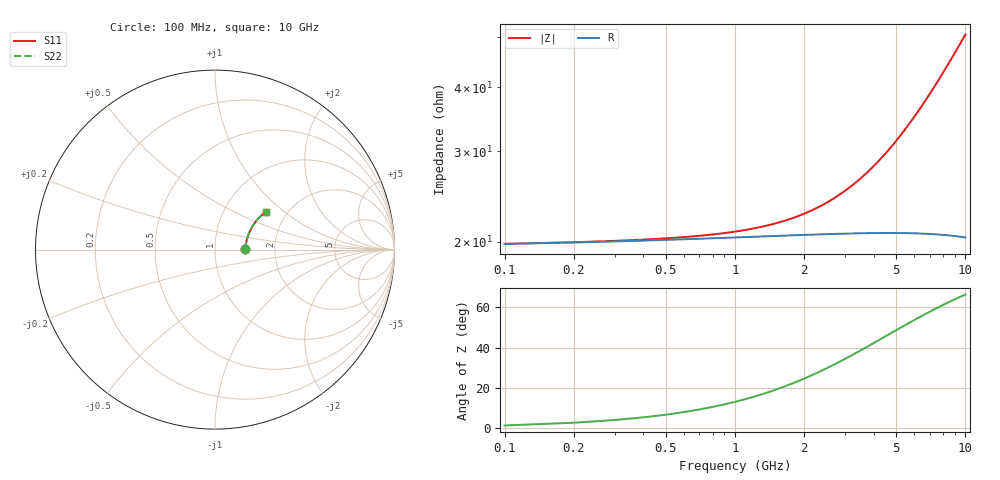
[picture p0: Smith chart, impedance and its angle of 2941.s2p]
# Hz S RI R 50.00
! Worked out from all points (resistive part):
!   100 points, 100 MHz to 10 GHz, reference 50 ohm
!   read as one part in series: R = 19.8 ohm at 100 MHz
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1e8  0.1654 0.0026  0.8346 -0.00396  0.8346 -0.00396  0.1654 0.0026
2e8  0.1663 0.00518  0.8336 -0.00791  0.8336 -0.00791  0.1663 0.00518
3e8  0.1671 0.00775  0.8329 -0.0118  0.8329 -0.0118  0.1671 0.00775
8e8  0.1697 0.0205  0.8302 -0.0314  0.8302 -0.0314  0.1697 0.0205
1.1e9  0.1712 0.0281  0.8286 -0.0431  0.8286 -0.0431  0.1712 0.0281
1.4e9  0.1728 0.0357  0.827 -0.0548  0.827 -0.0548  0.1728 0.0357
1.8e9  0.175 0.0456  0.8246 -0.0702  0.8246 -0.0702  0.175 0.0456
2.1e9  0.1768 0.0531  0.8227 -0.0818  0.8227 -0.0818  0.1768 0.0531
2.5e9  0.1796 0.0628  0.8198 -0.097  0.8198 -0.097  0.1796 0.0628
2.9e9  0.1826 0.0725  0.8165 -0.1122  0.8165 -0.1122  0.1826 0.0725
3.4e9  0.1868 0.0844  0.812 -0.1309  0.812 -0.1309  0.1868 0.0844
4.2e9  0.1945 0.1029  0.8037 -0.1603  0.8037 -0.1603  0.1945 0.1029
4.6e9  0.1988 0.1119  0.799 -0.1748  0.799 -0.1748  0.1988 0.1119
5.1e9  0.2047 0.1228  0.7927 -0.1926  0.7927 -0.1926  0.2047 0.1228
5.9e9  0.2149 0.1396  0.7815 -0.2204  0.7815 -0.2204  0.2149 0.1396
6.7e9  0.2263 0.1555  0.7691 -0.2473  0.7691 -0.2473  0.2263 0.1555
7.2e9  0.2339 0.1649  0.7608 -0.2636  0.7608 -0.2636  0.2339 0.1649
7.6e9  0.2402 0.1722  0.7539 -0.2763  0.7539 -0.2763  0.2402 0.1722
8.4e9  0.2535 0.1858  0.7392 -0.301  0.7392 -0.301  0.2535 0.1858
8.8e9  0.2605 0.1922  0.7315 -0.313  0.7315 -0.313  0.2605 0.1922
9.2e9  0.2676 0.1983  0.7237 -0.3246  0.7237 -0.3246  0.2676 0.1983
1e10  0.2824 0.2096  0.7073 -0.3471  0.7073 -0.3471  0.2824 0.2096
